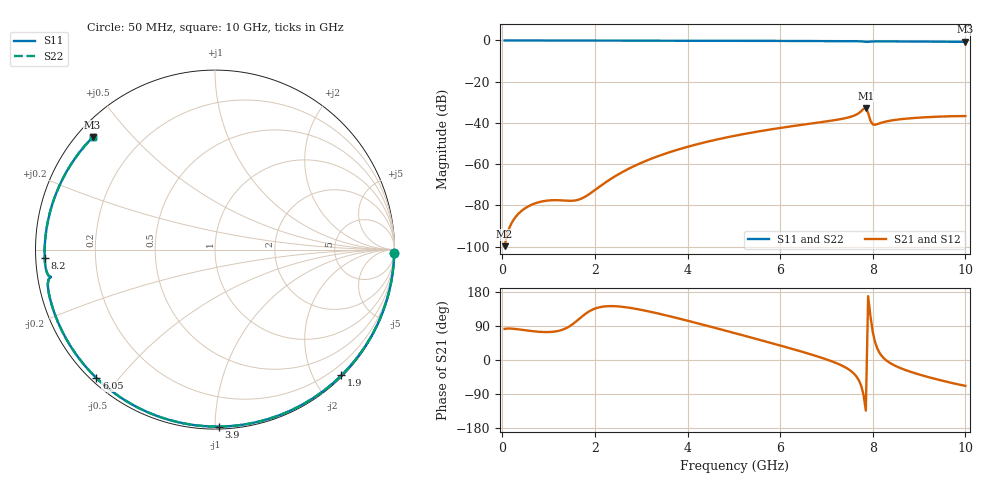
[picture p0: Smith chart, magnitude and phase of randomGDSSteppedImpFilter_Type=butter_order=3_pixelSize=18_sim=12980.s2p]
! freq	dB(S11)	phase(S11)	dB(S12)	phase(S12)
!  dB(S21)	phase(S21)	dB(S22)	phase(S22)
!S-par simulation data
#  GHz  S  DB  R 50
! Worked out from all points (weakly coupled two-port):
!   200 points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, 50 MHz to 10 GHz, reference 50 ohm
!   highest |S21| = -32.72 dB at 7.85 GHz (marker M1); lowest = -99.8 dB at 50 MHz (marker M2)
!   lowest |S11| = -0.7 dB at 10 GHz (marker M3), VSWR 25.83, Z = 2.23 + j19.4 ohm
!   |S11| at or under -10 dB: nowhere
!   |S22| runs from -0.7 to 0.0 dB; largest |S21 - S12| = 0
!   S11 on the Smith chart (normalised r, x): 50 MHz: 3, -99; 1.9 GHz: 0.02, -2.42; 3.9 GHz: 0.01, -1.02; 6.05 GHz: 0.02, -0.44; 8.2 GHz: 0.03, -0.02; 10 GHz: 0.04, +0.39
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0.05  -0.01 -1.2  -99.81 82.1  -99.81 82.1  -0.01 -1.2
0.6  -0.02 -14.4  -80.05 76.8  -80.05 76.8  -0.02 -14.4
0.95  -0.03 -22.7  -77.75 73.7  -77.75 73.7  -0.03 -22.7
1.55  -0.05 -36.8  -77.70 97.3  -77.70 97.3  -0.05 -36.8
1.75  -0.05 -41.4  -76.30 117.5  -76.30 117.5  -0.05 -41.4
1.9  -0.06 -44.9  -74.21 130.0  -74.21 130.0  -0.06 -44.9
2.6  -0.08 -60.7  -63.76 140.3  -63.76 140.3  -0.08 -60.7
3.4  -0.10 -78.1  -55.85 121.7  -55.85 121.7  -0.10 -78.1
3.9  -0.12 -88.8  -52.25 106.8  -52.25 106.8  -0.12 -88.8
5.05  -0.17 -112.5  -46.11 69.9  -46.11 69.9  -0.17 -112.5
6.05  -0.23 -132.8  -42.29 36.5  -42.29 36.5  -0.23 -132.8
6.7  -0.28 -146.0  -40.21 13.5  -40.21 13.5  -0.28 -146.0
7.5  -0.36 -162.9  -37.19 -26.4  -37.19 -26.4  -0.36 -162.9
7.65  -0.39 -166.3  -35.91 -43.9  -35.91 -43.9  -0.39 -166.3
7.85  -0.67 -170.6  -32.72 -133.5  -32.72 -133.5  -0.67 -170.6
7.9  -0.65 -170.4  -35.20 168.5  -35.20 168.5  -0.65 -170.4
7.95  -0.54 -171.3  -38.98 115.4  -38.98 115.4  -0.54 -171.3
8  -0.48 -172.5  -40.75 74.2  -40.75 74.2  -0.48 -172.5
8.2  -0.44 -177.3  -39.83 9.8  -39.83 9.8  -0.44 -177.3
8.35  -0.45 179.2  -39.03 -6.1  -39.03 -6.1  -0.45 179.2
9.2  -0.56 158.8  -37.19 -45.1  -37.19 -45.1  -0.56 158.8
10  -0.67 137.5  -36.69 -68.3  -36.69 -68.3  -0.67 137.5
